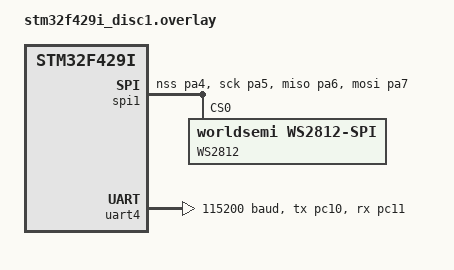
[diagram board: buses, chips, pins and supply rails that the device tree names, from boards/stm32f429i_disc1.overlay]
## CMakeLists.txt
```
# SPDX-License-Identifier: Apache-2.0

cmake_minimum_required(VERSION 3.20.0)
set(BOARD stm32f429i_disc1)

find_package(Zephyr REQUIRED HINTS $ENV{ZEPHYR_BASE})
project(app)

FILE(GLOB app_sources src/*.c)
target_sources(app PRIVATE ${app_sources})
```

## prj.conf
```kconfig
CONFIG_POLL=y
CONFIG_LOG=y
CONFIG_LOG_BACKEND_UART=y
CONFIG_SHELL=y
CONFIG_DEVICE_SHELL=y
CONFIG_SPI=y
CONFIG_SPI_STM32=y
CONFIG_SPI_STM32_DMA=y
CONFIG_LED_STRIP=y
CONFIG_LED_STRIP_LOG_LEVEL_DBG=y
CONFIG_WS2812_STRIP=y
CONFIG_NEWLIB_LIBC=y
CONFIG_CMSIS_DSP=y
CONFIG_CMSIS_DSP_COMPLEXMATH=y
CONFIG_CMSIS_DSP_TRANSFORM=y
CONFIG_TEST_RANDOM_GENERATOR=y
CONFIG_TIMER_RANDOM_GENERATOR=y
CONFIG_CBPRINTF_FP_SUPPORT=y

CONFIG_TIMING_FUNCTIONS=n
```

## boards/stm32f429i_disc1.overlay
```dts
/*
 * Copyright (c) 2019, Nordic Semiconductor ASA
 *
 * SPDX-License-Identifier: Apache-2.0
 */

#include <dt-bindings/led/led.h>

#include "../stm32f429i-bindings.h"

&spi1 { /* MOSI on PA7 */
	led_strip: ws2812@0 {
		compatible = "worldsemi,ws2812-spi";
		label = "WS2812";

		/* SPI */
		reg = <0>; /* ignored, but necessary for SPI bindings */
		spi-max-frequency = <SPI_FREQ>;

		/* WS2812 */
		chain-length = <123>; /* arbitrary; change at will */
		color-mapping = <LED_COLOR_ID_GREEN
				 LED_COLOR_ID_RED
				 LED_COLOR_ID_BLUE>;
		spi-one-frame = <ONE_FRAME>;
		spi-zero-frame = <ZERO_FRAME>;
	};

   dmas = <&dma2 5 3 0x28440 0x03>,
          <&dma2 2 3 0x28480 0x03>;
   dma-names = "tx", "rx";

	pinctrl-0 = <&spi1_nss_pa4 &spi1_sck_pa5
		     &spi1_miso_pa6 &spi1_mosi_pa7>;
	pinctrl-names = "default";
	status = "okay";
};

&dma2 {
   status = "okay";
};

&uart4 {
	pinctrl-0 = <&uart4_tx_pc10 &uart4_rx_pc11>;
	pinctrl-names = "default";
	current-speed = <115200>;
	status = "okay";
};

/ {
	chosen {
		zephyr,shell-uart = &uart4;
		zephyr,console = &usart1;
	};

	aliases {
		led-strip = &led_strip;
		mic-dma = &dma2;
	};

};
```

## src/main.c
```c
#include <errno.h>
#include <string.h>

#define LOG_LEVEL 4
#include <logging/log.h>
LOG_MODULE_REGISTER(main);

#include <zephyr.h>
#include <version.h>
#include <zephyr/shell/shell.h>
#include "fl_audioin.h"
#include "fl_events.h"
#include "fl_strip.h"
#include "fl_dsp.h"
#include "fl_lights.h"
#include "fl_button.h"

#ifdef CONFIG_TIMING_FUNCTIONS
#include <timing/timing.h>
/* TODO(kleindan)
 *
 * Spare:       1,152,334 ns
 * Fft:        11,032,024 ns
 * Update:        608,110 ns
 * Pixel:             738 ns
 * Total       12,793,208 ns
 */

#endif

static int cmd_demo_board(const struct shell *sh, size_t argc, char **argv)
{
	ARG_UNUSED(argc);
	ARG_UNUSED(argv);

	shell_print(sh, CONFIG_BOARD);

	return 0;
}

static int cmd_version(const struct shell *shell, size_t argc, char **argv)
{
	ARG_UNUSED(argc);
	ARG_UNUSED(argv);

	shell_print(shell, "Zephyr version %s", KERNEL_VERSION_STRING);

	return 0;
}

SHELL_STATIC_SUBCMD_SET_CREATE(sub_demo,
	SHELL_CMD(board, NULL, "Show board name command.", cmd_demo_board),
	SHELL_SUBCMD_SET_END /* Array terminated. */
);
SHELL_CMD_REGISTER(demo, &sub_demo, "Demo commands", NULL);

SHELL_CMD_ARG_REGISTER(version, NULL, "Show kernel version", cmd_version, 1, 0);


#define NUM_SAMPLES (1024)
#define SAMPLE_INDEX_MASK  ((NUM_SAMPLES * 2) - 1)
#define NUM_OF_PIXELS (123)

internal int16_t SampleBuffer[2*NUM_SAMPLES];
internal f32 FftInput[NUM_SAMPLES];
internal f32 FftComplex[NUM_SAMPLES];
internal f32 FftOut[NUM_SAMPLES/2];
internal pixel *Pixels;

#ifdef CONFIG_TIMING_FUNCTIONS
internal uint64_t TotalCycles = 0, TotalNs = 0;
internal uint64_t SamplesCycles = 0, SamplesNs = 0;
internal uint64_t FftCycles = 0, FftNs = 0;
internal uint64_t UpdateCycles = 0, UpdateNs = 0;
internal uint64_t PixelPushCycles = 0, PixelPushNs = 0;
internal timing_t TStart, TSamplesReady, TFftDone, TUpdateDone, TPixelPushed;
internal u32 TimingCount = 0;
#endif

typedef enum {
   MODE_NORMAL,
   MODE_INSPECTION,
   MODE_BROWNOUT,
   MODE_MAX
} fl_system_mode;


internal void           ModeNormalOnEnter();
internal fl_system_mode ModeNormalOnEvent(fl_event Event);
internal void           ModeNormalOnLeave();

internal void           ModeInspectionOnEnter();
internal fl_system_mode ModeInspectionOnEvent(fl_event Event);
internal void           ModeInspectionOnLeave();

internal void           ModeBrownOutOnEnter();
internal fl_system_mode ModeBrownOutOnEvent(fl_event Event);
internal void           ModeBrownOutOnLeave();

typedef fl_system_mode (*mode_event_handler_t)(fl_event);
typedef void (*mode_enter_handler_t)();
typedef void (*mode_leave_handler_t)();

typedef struct {
   mode_enter_handler_t OnEnter;
   mode_event_handler_t OnEvent;
   mode_leave_handler_t OnLeave;
} mode_functions;

internal u32 ModeTimeouts[MODE_MAX] = {
   60,
   0,
   2000
};

internal mode_functions ModeHandlers[MODE_MAX] = {
   {
      .OnEnter = ModeNormalOnEnter,
      .OnEvent = ModeNormalOnEvent,
      .OnLeave = ModeNormalOnLeave,
   },
   {
      .OnEnter = ModeInspectionOnEnter,
      .OnEvent = ModeInspectionOnEvent,
      .OnLeave = ModeInspectionOnLeave,
   },
   {
      .OnEnter = ModeBrownOutOnEnter,
      .OnEvent = ModeBrownOutOnEvent,
      .OnLeave = ModeBrownOutOnLeave,
   },
};

internal void ModeInspectionOnEnter()
{
   static const pixel RED = {
      .Color = {
         .r = 0xff,
      },
   };

   for (int I = 0; I < NUM_OF_PIXELS; ++I)
   {
      Pixels[I].Dword = RED.Dword;
   }

   StripOutput(Pixels, NUM_OF_PIXELS);
   Pixels = StripSwapBuffer(Pixels);
}

internal fl_system_mode ModeInspectionOnEvent(fl_event Event)
{
   fl_system_mode NextMode = MODE_INSPECTION;

   static const pixel GREEN_BLUE[2] = {
      {
         .Color = {
            .g = 0xff,
         },
      },
      {
         .Color = {
            .b = 0xff,
         },
      },
   };
   static u32 CurrentColor = 0;

   switch (Event)
   {
      case EV_PERIODIC_FRAME:
         break;
      case EV_AUDIO_SAMPLES_AVAILABLE:
         break;
      case EV_BUTTON_PRESSED:
         break;
      case EV_BUTTON_RELEASED:
         if (CurrentColor >= 2)
         {
            NextMode = MODE_BROWNOUT;
            CurrentColor = 0;
         }
         else
         {
            for (int I = 0; I < NUM_OF_PIXELS; ++I)
            {
               Pixels[I].Dword = GREEN_BLUE[CurrentColor].Dword;
            }
            CurrentColor++;

            StripOutput(Pixels, NUM_OF_PIXELS);
            Pixels = StripSwapBuffer(Pixels);
         }
         break;
      default:
         break;
   }

   return NextMode;
}

internal void ModeInspectionOnLeave()
{
   /* Nothing to do really? */
}

internal void ModeBrownOutOnEnter()
{
   static const pixel ALL = {
      .Color = {
         .r = 0xff,
         .g = 0xff,
         .b = 0xff,
      },
   };

   for (int I = 0; I < NUM_OF_PIXELS; ++I)
   {
      Pixels[I].Dword = ALL.Dword;
   }
   Pixels = StripSwapBuffer(Pixels);
   for (int I = 0; I < NUM_OF_PIXELS; ++I)
   {
      if ((I % 2) == 0)
      {
         Pixels[I].Dword = ALL.Dword;
      }
      else
      {
         Pixels[I].Dword = 0;
      }
   }

   Pixels = StripSwapBuffer(Pixels);
   StripOutput(Pixels, NUM_OF_PIXELS);
   Pixels = StripSwapBuffer(Pixels);

   EventsStartPeriodicEvent(1000);
}

internal fl_system_mode ModeBrownOutOnEvent(fl_event Event)
{
   fl_system_mode NextMode = MODE_BROWNOUT;

   switch (Event)
   {
      case EV_PERIODIC_FRAME:
         StripOutput(Pixels, NUM_OF_PIXELS);
         Pixels = StripSwapBuffer(Pixels);
         break;
      case EV_AUDIO_SAMPLES_AVAILABLE:
         break;
      case EV_BUTTON_PRESSED:
         break;
      case EV_BUTTON_RELEASED:
         NextMode = MODE_NORMAL;
         break;
      default:
         break;
   }

   return NextMode;
}

internal void ModeBrownOutOnLeave()
{
   EventsStopPeriodicEvent();
}

internal void ModeNormalOnEnter()
{
#ifdef CONFIG_TIMING_FUNCTIONS
   timing_init();
   timing_start();
   TStart = timing_counter_get();
#endif
   for (int I = 0; I < NUM_OF_PIXELS; ++I)
   {
      Pixels[I].Dword = 0;
   }
   StripOutput(Pixels, NUM_OF_PIXELS);
   Pixels = StripSwapBuffer(Pixels);
   AudioInStart();

}
internal void ModeNormalOnLeave()
{
   AudioInStop();
#ifdef CONFIG_TIMING_FUNCTIONS
   timing_stop();
#endif
}

internal inline fl_system_mode ModeNormalOnEvent(fl_event Event)
{
   static u32 AudioSampleIndex = 0;
   fl_system_mode NextMode = MODE_NORMAL;

   switch (Event)
   {
      case EV_PERIODIC_FRAME:
         break;
      case EV_AUDIO_SAMPLES_AVAILABLE:
#ifdef CONFIG_TIMING_FUNCTIONS
         TSamplesReady = timing_counter_get();
#endif
         DspNormalizeSamples(&SampleBuffer[AudioSampleIndex], NUM_SAMPLES, FftInput);
         DspCalculateSpectrum(FftInput, NUM_SAMPLES, FftComplex, FftOut);
         AudioSampleIndex = (AudioSampleIndex + NUM_SAMPLES) & SAMPLE_INDEX_MASK;
#ifdef CONFIG_TIMING_FUNCTIONS
         TFftDone = timing_counter_get();
#endif

         LightsUpdateAndRender(Pixels, NUM_OF_PIXELS, FftOut, NUM_SAMPLES);
#ifdef CONFIG_TIMING_FUNCTIONS
         TUpdateDone = timing_counter_get();
#endif

         StripOutput(Pixels, NUM_OF_PIXELS);
         Pixels = StripSwapBuffer(Pixels);
#ifdef CONFIG_TIMING_FUNCTIONS
         TPixelPushed = timing_counter_get();
         timing_stop();
#endif
#ifdef CONFIG_TIMING_FUNCTIONS
         SamplesCycles     = timing_cycles_get(&TStart, &TSamplesReady);
         FftCycles         = timing_cycles_get(&TSamplesReady, &TFftDone);
         UpdateCycles      = timing_cycles_get(&TFftDone, &TUpdateDone);
         PixelPushCycles   = timing_cycles_get(&TUpdateDone, &TPixelPushed);
         TotalCycles       = timing_cycles_get(&TStart, &TPixelPushed);

         SamplesNs        += timing_cycles_to_ns(SamplesCycles);
         FftNs            += timing_cycles_to_ns(FftCycles);
         UpdateNs         += timing_cycles_to_ns(UpdateCycles);
         PixelPushNs      += timing_cycles_to_ns(PixelPushCycles);
         TotalNs          += timing_cycles_to_ns(TotalCycles);

         TimingCount = (TimingCount + 1) & 0xFF;
         if (0 == TimingCount)
         {
            SamplesNs    >>= 8;
            FftNs        >>= 8;
            UpdateNs     >>= 8;
            PixelPushNs  >>= 8;
            TotalNs      >>= 8;

            LOG_INF("Samples: %lldns, Fft: %lldns, Update: %lldns, Pixel: %lldns, Total %lldns", SamplesNs, FftNs, UpdateNs, PixelPushNs, TotalNs);

            SamplesNs    = 0;
            FftNs        = 0;
            UpdateNs     = 0;
            PixelPushNs  = 0;
            TotalNs      = 8;
         }

         timing_start();
         TStart = timing_counter_get();
#endif
         break;
      case EV_BUTTON_PRESSED:
         break;
      case EV_BUTTON_RELEASED:
         NextMode = MODE_INSPECTION;
         break;
      default:
         break;
   }

   return NextMode;
}

void main(void)
{
   Pixels = StripGetBuffer();

   EventsInit();
   StripInit();
   LightsInit();
   ButtonInit();
   AudioInInit(SampleBuffer, sizeof(SampleBuffer));

   StripOutput(Pixels, NUM_OF_PIXELS);
   Pixels = StripSwapBuffer(Pixels);

   fl_system_mode CurrentMode = MODE_NORMAL;
   ModeHandlers[CurrentMode].OnEnter();

	while (1) {
      fl_event Event = WaitForEvent(ModeTimeouts[CurrentMode]);

      fl_system_mode NextMode = ModeHandlers[CurrentMode].OnEvent(Event);

      if (NextMode != CurrentMode)
      {
         ModeHandlers[CurrentMode].OnLeave();
         CurrentMode = NextMode;
         ModeHandlers[CurrentMode].OnEnter();
      }
	}
}
```

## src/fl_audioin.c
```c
#include "fl_common.h"
#include "fl_audioin.h"

#include "zephyr.h"
#include <drivers/adc.h>
#include <drivers/dma.h>
#include <drivers/dma/dma_stm32.h>
#include <device.h>

#include "stm32f4xx_ll_adc.h"
#include "stm32f4xx_ll_bus.h"
#include "stm32f4xx_ll_dma.h"
#include "stm32f4xx_ll_gpio.h"
#include "stm32f4xx_ll_rcc.h"
#include "stm32f4xx_ll_tim.h"

#define LOG_LEVEL 4
#include <logging/log.h>
LOG_MODULE_REGISTER(audioin);

internal void AdcDmaConfig(u16* Data, u32 size);
internal inline void ActivateAdc(ADC_TypeDef* Adc);
internal inline void EnableAdcChannel(ADC_TypeDef* Adc, u32 Channel, u32 Rank);
internal inline void StartAdc(ADC_TypeDef* Adc);
internal inline void StopAdc(ADC_TypeDef* Adc);
internal void AdcConfig(ADC_TypeDef* Adc, uint32_t TimerTriggerId, uint32_t AdcPeriphId);
internal void Adc3Init(u16* Data, u32 BufferSize);

#define DMA_NODE		DT_ALIAS(mic_dma)
internal const struct device *DmaDevice = DEVICE_DT_GET(DMA_NODE);

internal void TIM2IrqHandler()
{
   if (LL_TIM_IsActiveFlag_UPDATE(TIM2) == 1)
   {
      // Clear the update interrupt flag
      LL_TIM_ClearFlag_UPDATE(TIM2);
   }
}

internal void ADCIrqHandler()
{
   if (LL_ADC_IsActiveFlag_OVR(ADC1) != 0)
   {
      LL_ADC_ClearFlag_OVR(ADC1);
      LOG_ERR("ADC1 overdflow");
   }

   if (LL_ADC_IsActiveFlag_OVR(ADC2) != 0)
   {
      LL_ADC_ClearFlag_OVR(ADC2);
      LOG_ERR("ADC2 overdflow");
   }

   if (LL_ADC_IsActiveFlag_OVR(ADC3) != 0)
   {
      LL_ADC_ClearFlag_OVR(ADC3);
      LOG_ERR("ADC3 overdflow");
   }
}

u32 AudioInInit(u16* Buffer, u32 BufferSize)
{
   // Timer config 
   u32 Tim2ClockFrequency = 200000;
   u32 SamplingFrequency = 40000;
   u32 TimerClock = CONFIG_SYS_CLOCK_HW_CYCLES_PER_SEC / 4;
   u32 Result = 0;

   LL_APB1_GRP1_EnableClock(LL_APB1_GRP1_PERIPH_TIM2);
   LL_TIM_SetPrescaler(TIM2, __LL_TIM_CALC_PSC(TimerClock, Tim2ClockFrequency));
   LL_TIM_SetAutoReload(TIM2, __LL_TIM_CALC_ARR(TimerClock, LL_TIM_GetPrescaler(TIM2), SamplingFrequency));

   IRQ_CONNECT(TIM2_IRQn, 0, TIM2IrqHandler, NULL, 0);
   irq_enable(TIM2_IRQn);

   Adc3Init(Buffer, BufferSize);

   LL_AHB1_GRP1_EnableClock(LL_AHB1_GRP1_PERIPH_GPIOF);
   LL_GPIO_SetPinMode(GPIOF, LL_GPIO_PIN_10, LL_GPIO_MODE_ANALOG);

   EnableAdcChannel(ADC3, LL_ADC_CHANNEL_8, LL_ADC_REG_RANK_1);


   return Result;
}

u32 AudioInStart()
{
   int ReturnCode = dma_start(DmaDevice, 1);
   if (ReturnCode != 0)
   {
      LOG_ERR("Dma start failed %d", ReturnCode);
   }

   StartAdc(ADC3);
   LL_TIM_EnableCounter(TIM2);
   LL_TIM_GenerateEvent_UPDATE(TIM2);

   return ReturnCode;
}

u32 AudioInStop()
{
   LL_TIM_DisableCounter(TIM2);
   StopAdc(ADC3);

   int ReturnCode = dma_stop(DmaDevice, 1);
   if (ReturnCode != 0)
   {
      LOG_ERR("Dma stop failed %d", ReturnCode);
   }

   return ReturnCode;
}

internal void DmaCallback(const struct device *Dev, void *UserData, uint32_t Channel, int Status)
{
   EventEmit(EV_AUDIO_SAMPLES_AVAILABLE);
}

internal void AdcDmaConfig(u16* Data, u32 BufferSize)
{
   int ReturnCode = 0;

   struct dma_block_config BlockConfig = {
      .source_address = LL_ADC_DMA_GetRegAddr(ADC3, LL_ADC_DMA_REG_REGULAR_DATA),
      .dest_address = (u32)Data,
      .source_gather_interval = 0,
      .dest_scatter_interval = 0,
      .dest_scatter_count = 0,
      .source_gather_count = 0,
      .block_size = BufferSize,
      .next_block = NULL,
      .source_gather_en = 0,
      .dest_scatter_en = 0,
      .source_addr_adj = DMA_ADDR_ADJ_NO_CHANGE,
      .dest_addr_adj = DMA_ADDR_ADJ_INCREMENT,
      .source_reload_en = 1,
      .dest_reload_en = 1,
      .fifo_mode_control = 0,
      .flow_control_mode = 0,
   };
   struct dma_config DevConfig = {
      .dma_slot = 2,
      .channel_direction = PERIPHERAL_TO_MEMORY,
      .complete_callback_en = 1,
      .error_callback_en = 1,
      .source_handshake = 0, /* HW, probably ignored param */
      .dest_handshake = 1, /* SW, probably ignored param */
      .channel_priority = 0x0, /* Low prio, tbd if this is ok */
      .source_chaining_en = 0, /* ignored? */
      .dest_chaining_en = 0, /* ignored? */
      .linked_channel = 0, /* ignored? */
      .source_data_size = 2,
      .dest_data_size = 2,
      .source_burst_length = 1,
      .dest_burst_length = 1,
      .block_count = 1,
      .user_data = NULL,
      .dma_callback = DmaCallback,
      .head_block = &BlockConfig,
   };

   ReturnCode = dma_config(DmaDevice, 1, &DevConfig);
   if (ReturnCode != 0)
   {
      LOG_ERR("Dma config failed %d", ReturnCode);
   }

}

#if 0
internal void AdcDmaConfig(u16* Data, u32 Size)
{
   // Configuration of NVIC
   // Configure NVIC to enable DMA interruptions
   IRQ_CONNECT(DMA2_Stream1_IRQn, 0, DMA2Stream1IrqHandler, NULL, 0);
   irq_enable(DMA2_Stream1_IRQn);
   /*
   NVIC_SetPriority(DMA2_Stream1_IRQn, 1);  // DMA IRQ lower priority than ADC IRQ
   NVIC_EnableIRQ(DMA2_Stream1_IRQn);
   */

   // Configuration of DMA
   // Enable the peripheral clock of DMA
   LL_AHB1_GRP1_EnableClock(LL_AHB1_GRP1_PERIPH_DMA2);

   LL_DMA_SetChannelSelection(DMA2, LL_DMA_STREAM_1, LL_DMA_CHANNEL_2);

   // Configure the DMA transfer
   //    - DMA transfer in circular mode to match with ADC configuration:
   //      DMA unlimited requests.
   //    - DMA transfer from ADC without address increment.
   //    - DMA transfer to memory with address increment.
   //    - DMA transfer from ADC by half-word to match with ADC configuration:
   //      ADC resolution 12 bits.
   //    - DMA transfer to memory by half-word to match with ADC conversion data
   //      buffer variable type: half-word.

   LL_DMA_ConfigTransfer(
         DMA2,
         LL_DMA_STREAM_1,
         LL_DMA_DIRECTION_PERIPH_TO_MEMORY |
         LL_DMA_MODE_CIRCULAR              |
         LL_DMA_PERIPH_NOINCREMENT         |
         LL_DMA_MEMORY_INCREMENT           |
         LL_DMA_PDATAALIGN_HALFWORD        |
         LL_DMA_MDATAALIGN_HALFWORD        |
         LL_DMA_PRIORITY_HIGH
         );

   // Set DMA transfer addresses of source and destination
   LL_DMA_ConfigAddresses(
         DMA2,
         LL_DMA_STREAM_1,
         LL_ADC_DMA_GetRegAddr(ADC3, LL_ADC_DMA_REG_REGULAR_DATA),
         (uint32_t)Data,
         LL_DMA_DIRECTION_PERIPH_TO_MEMORY
         );

   // Set DMA transfer size
   LL_DMA_SetDataLength(DMA2, LL_DMA_STREAM_1, Size);

   // Enable DMA transfer interruption: transfer complete
   LL_DMA_EnableIT_TC(DMA2, LL_DMA_STREAM_1);

   // Enable DMA transfer interruption: half transfer
   LL_DMA_EnableIT_HT(DMA2, LL_DMA_STREAM_1);

   // Enable DMA transfer interruption: transfer error
   LL_DMA_EnableIT_TE(DMA2, LL_DMA_STREAM_1);

   // Activation of DMA
   // Enable the DMA transfer
   LL_DMA_EnableStream(DMA2, LL_DMA_STREAM_1);
}
#endif

internal inline void ActivateAdc(ADC_TypeDef* Adc)
{
   // ADC must be disabled at this point
   if (LL_ADC_IsEnabled(Adc) != 0)
   {
      LOG_ERR("ADC should not be already eanbled");
   }

   // Enable ADC
   LL_ADC_Enable(Adc);
}

internal inline void EnableAdcChannel(ADC_TypeDef* Adc, u32 Channel, u32 Rank)
{
   // Set ADC group regular sequence: Channel on the selected sequence Rank.
   LL_ADC_REG_SetSequencerRanks(Adc, Rank, Channel);
   LL_ADC_SetChannelSamplingTime(Adc, Channel, LL_ADC_SAMPLINGTIME_144CYCLES);
}

internal inline void StartAdc(ADC_TypeDef* Adc)
{
   if (LL_ADC_IsEnabled(Adc))
   {
      LL_ADC_REG_StartConversionExtTrig(Adc, LL_ADC_REG_TRIG_EXT_RISING);
   }
}

internal inline void StopAdc(ADC_TypeDef* Adc)
{
   if (LL_ADC_IsEnabled(Adc))
   {
      LL_ADC_REG_StopConversionExtTrig(Adc);
   }
}

internal void AdcConfig(
      ADC_TypeDef* Adc,
      uint32_t TimerTriggerId,
      uint32_t AdcPeriphId
   )
{
   // Configuration of NVIC
   // Configure NVIC to enable ADC interruptions
   IRQ_CONNECT(ADC_IRQn, 0, ADCIrqHandler, NULL, 0);
   irq_enable(ADC_IRQn);

   // Enable ADC clock (core clock)
   LL_APB2_GRP1_EnableClock(AdcPeriphId);

   static bool AdcCommonInitialized = false;

   if (!AdcCommonInitialized)
   {
      // ADC common instance must not be enabled at this point
      if (__LL_ADC_IS_ENABLED_ALL_COMMON_INSTANCE() != 0)
      {
         LOG_ERR("ADC Common instance already initialized");
      }

      // Set ADC clock (conversion clock) common to several ADC instances
      LL_ADC_SetCommonClock(__LL_ADC_COMMON_INSTANCE(Adc), LL_ADC_CLOCK_SYNC_PCLK_DIV2);

      AdcCommonInitialized = true;
   }

   // ADC must not be enabled at this point
   if (LL_ADC_IsEnabled(Adc) != 0)
   {
      LOG_ERR("ADC should not be enabled yet");
   }

   // Set ADC data resolution
   LL_ADC_SetResolution(Adc, LL_ADC_RESOLUTION_12B);

   // Set ADC conversion data alignment
   LL_ADC_SetResolution(Adc, LL_ADC_DATA_ALIGN_RIGHT);

   // Set Set ADC sequencers scan mode, for all ADC groups
   // (group regular, group injected).
   LL_ADC_SetSequencersScanMode(Adc, LL_ADC_SEQ_SCAN_DISABLE);

   // Set ADC group regular trigger source
   LL_ADC_REG_SetTriggerSource(Adc, TimerTriggerId);

   // Set ADC group regular trigger polarity
   // LL_ADC_REG_SetTriggerEdge(Adc, LL_ADC_REG_TRIG_EXT_RISING);

   // Set ADC group regular continuous mode
   LL_ADC_REG_SetContinuousMode(Adc, LL_ADC_REG_CONV_SINGLE);

   // Set ADC group regular conversion data transfer
   LL_ADC_REG_SetDMATransfer(Adc, LL_ADC_REG_DMA_TRANSFER_UNLIMITED);

   // Set ADC group regular sequencer length and scan direction
   LL_ADC_REG_SetSequencerLength(Adc, LL_ADC_REG_SEQ_SCAN_DISABLE);

   // Set ADC group regular sequencer discontinuous mode
   // LL_ADC_REG_SetSequencerDiscont(Adc, LL_ADC_REG_SEQ_DISCONT_DISABLE);

   // Enable interruption ADC group regular overrun
   LL_ADC_EnableIT_OVR(Adc);
}

internal void Adc3Init(u16* Data, u32 BufferSize)
{
   AdcDmaConfig(Data, BufferSize);

   AdcConfig(ADC3, LL_ADC_REG_TRIG_EXT_TIM2_TRGO, LL_APB2_GRP1_PERIPH_ADC3);

   ActivateAdc(ADC3);

   // Set timer the trigger output (TRGO)
   LL_TIM_SetTriggerOutput(TIM2, LL_TIM_TRGO_UPDATE);
}
```

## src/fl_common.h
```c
#ifndef FL_COMMON_H__
#define FL_COMMON_H__

#include <arm_math.h>
#include <random/rand32.h>

typedef unsigned char      u8;
typedef unsigned short     u16;
typedef unsigned int       u32;
typedef          char      i8;
typedef          int       i32;
typedef          float32_t f32;

#define ArrayCount(Array) (sizeof(Array)/sizeof(Array[0]))

#define Maximum(A, B) ((A) < (B) ? (B) : (A))
#define Minimum(A, B) ((A) < (B) ? (A) : (B))

#define internal static

internal inline f32 Square(f32 A) {
   return A*A;
}

internal inline f32 Abs(f32 A) {
   return A >= 0 ? A : -A;
}

internal inline f32 Clamp(f32 Min, f32 A, f32 Max) {
   return Maximum(Minimum(A, Max), Min);
}

internal inline u32 ClampU(u32 Min, u32 A, u32 Max) {
   return Maximum(Minimum(A, Max), Min);
}

internal inline i32 Round(f32 A) {
   return (i32)(A + 0.5f);
}

internal inline f32 Lerp(f32 A, f32 t, f32 B) {
   return (1 - t) * A + t * B;
}

internal inline f32 Sine(f32 V) {
   return arm_sin_f32(V);
}

internal inline f32 Random()
{
   const f32 OneOverMaxU32 = 1.0f / (f32)(0xffffffff);
   f32 Value = (f32)sys_rand32_get();

   return Value * OneOverMaxU32;
}

#endif
```

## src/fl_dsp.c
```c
#include "fl_common.h"
#include "fl_dsp.h"
#include "arm_math.h"

#define LOG_LEVEL 4
#include <logging/log.h>
LOG_MODULE_REGISTER(dsp);


u32 DspCalculateSpectrum(f32 *Input, u32 NumSamples, f32 *IntermediateBuffer, f32 *Output)
{
   f32 FfftScalingFactor = 1.0f / (f32)NumSamples;
   arm_rfft_fast_instance_f32 fft;

   arm_rfft_fast_init_f32(&fft, NumSamples);
   arm_rfft_fast_f32(&fft, Input, IntermediateBuffer, 0);
   arm_cmplx_mag_f32(IntermediateBuffer, Output, NumSamples/2);

   static f32 MaxSpectrum = -32000.0f;
   static f32 MinSpectrum = 32000.0f;
   for (int i = 1; i < NumSamples/2; ++i)
   {
      Output[i] *= FfftScalingFactor;
      if (Output[i] > MaxSpectrum) MaxSpectrum = Output[i];
      if (Output[i] < MinSpectrum) MinSpectrum = Output[i];
   }
#if 0
   static u32 DebugCount = 0;
   if (DebugCount++ > 100)
   {
      LOG_INF("MinS: %d, MaxS: %d:", (i32)(MinSpectrum * 1000.0f), (i32)(MaxSpectrum * 1000.0f));
      DebugCount = 0;
   }
#endif
   

   /* TODO(kleindan) Check for error from CMSIS */
   return 0;
}

u32 DspNormalizeSamples(u16 *RawSamples, u32 NumSamples, f32 *Output)
{
   u16 MinSample = 0xffff;
   u16 MaxSample = 0x0000;
   u32 SamplesSum = 0;
   f32 MinSampleF = 0.0f;
   f32 MaxSampleF = 0.0f;
   f32 Mean = 0;

   for (int i = 0; i < NumSamples; ++i)
   {
      SamplesSum += RawSamples[i];
      if (RawSamples[i] < MinSample) MinSample = RawSamples[i];
      if (RawSamples[i] > MaxSample) MaxSample = RawSamples[i];
   }
   Mean = ((f32) SamplesSum) / ((f32) NumSamples);

#if 0
   static u32 DebugCount = 0;
   if (DebugCount++ > 100)
   {
      LOG_INF("Min: %d, Max: %d:, Mean %d", MinSample, MaxSample, (u32)(Mean * 1000.f));
      DebugCount = 0;
   }
#endif

   u16 RangeLo = (u16)Mean - MinSample;
   u16 RangeHi = MaxSample - (u16)Mean;
   u16 Range = Maximum(RangeLo, RangeHi);
   f32 NormalizationFactor = 1.0/Clamp(800.0f, (f32)Range, 2048);
   for (int i = 0; i < NumSamples; ++i)
   {
      Output[i] = NormalizationFactor * (((f32) RawSamples[i]) - Mean);
      if (Output[i] < MinSampleF) MinSampleF = Output[i];
      if (Output[i] > MaxSampleF) MaxSampleF = Output[i];
   }
#if 0
   static u32 DebugCount = 0;
   if (DebugCount++ > 100)
   {
      LOG_INF("Minf: %d, Maxf: %d:", (i32)(MinSampleF * 1000.0f), (i32)(MaxSampleF * 1000.0f));
      DebugCount = 0;
   }
#endif

   /* TODO(kleindan) Check for error from CMSIS */
   return 0;
}
```

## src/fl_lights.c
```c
#include "fl_common.h"
#include "fl_lights.h"

#define LOG_LEVEL 4
#include <logging/log.h>
LOG_MODULE_REGISTER(lights);

#define MIN_ORB_X (5.0f)
#define MAX_ORB_X (123.0f)
#define MIN_ORB_R (5.0f)
#define MAX_ORB_R (10.0f)
#define MIN_ORB_FREQ_IDX (3.0f)
#define MAX_ORB_FREQ_IDX (200.0f - MIN_ORB_FREQ_R)
#define MIN_ORB_FREQ_R (1.0f)
#define MAX_ORB_FREQ_R (5.0f - MIN_ORB_FREQ_R)

typedef struct {
   f32 R;
   f32 G;
   f32 B;
} fl_color;

typedef struct {
   fl_color Base;
   fl_color Accents[3];
} fl_palette;

typedef enum {
   none,
   spectrum_window,
} controller_algo_t;

typedef struct {
   f32 PFreq;
   f32 RFreq;
   f32 IntensityMultiplier;
} algo_spectrum_window_t;

typedef struct {
   controller_algo_t Algo;
   union {
      algo_spectrum_window_t SpectrumWindow;
   } Data;
} controller_t ;

typedef struct 
{
   f32 P;
   f32 dP;
   f32 R;
   f32 dR;
   f32 Intensity;
   fl_color Color;
   controller_t Controller;
} fl_orb;

typedef struct
{
   fl_color Color;
   f32 Intensity;
   f32 IntensityMultiplier;
   f32 PFreq;
   f32 RFreq;
} fl_ambient;


#define MAX_ORBS (4)

internal fl_orb Orbs[MAX_ORBS];

internal fl_ambient Ambient;

internal fl_palette Palette[4];

internal void log_orb(fl_orb *Orb)
{
   LOG_INF("P %4f, R %f, RGB: %4f, %4f, %4f, PF %4f, RF, %4f, I %4f",
         Orb->P,
         Orb->R,
         Orb->Color.R,
         Orb->Color.G,
         Orb->Color.B,
         Orb->Controller.Data.SpectrumWindow.PFreq,
         Orb->Controller.Data.SpectrumWindow.RFreq,
         Orb->Controller.Data.SpectrumWindow.IntensityMultiplier
         );
}
internal inline void create_orb(fl_orb *Orb)
{
   Orb->P = MIN_ORB_X + MAX_ORB_X * Random();
   Orb->dP = 0.0f;
   Orb->R = MIN_ORB_R + MAX_ORB_R * Random();
   Orb->dR = 0.0f;
   Orb->Controller.Algo = spectrum_window;
   Orb->Controller.Data.SpectrumWindow.PFreq = MIN_ORB_FREQ_IDX + MAX_ORB_FREQ_IDX * Random();
   Orb->Controller.Data.SpectrumWindow.RFreq = MIN_ORB_FREQ_R + MAX_ORB_FREQ_R * Random();
   Orb->Controller.Data.SpectrumWindow.IntensityMultiplier = 100.0f + 140.0f * Random();
}

internal inline void RandomizeOrbs()
{
   for (i32 I = 0; I < MAX_ORBS; ++I)
   {
      create_orb(&Orbs[I]);
   }
}

internal void ApplyPalette(fl_palette *Palette)
{
   Ambient.Color.R = Palette->Base.R;
   Ambient.Color.G = Palette->Base.G;
   Ambient.Color.B = Palette->Base.B;

   for (i32 I = 0; I < MAX_ORBS; ++I)
   {
      Orbs[I].Color.R = Palette->Accents[I % 3].R;
      Orbs[I].Color.G = Palette->Accents[I % 3].G;
      Orbs[I].Color.B = Palette->Accents[I % 3].B;
   }
}

void MakePalette(fl_palette * Palette, u32 Base, u32 Accent1, u32 Accent2, u32 Accent3)
{
   const f32 OneOver255 = 1.0f / 255.0f;
   const f32 MixingR = 4.1f/5.8f;
   const f32 MixingG = 0.7f/5.8f;
   const f32 MixingB = 1.0f/5.8f;
   const f32 RFactor = MixingR * OneOver255;
   const f32 GFactor = MixingG * OneOver255;
   const f32 BFactor = MixingB * OneOver255;

   Palette->Base.R = (f32)((Base >> 16) & 0xFF) * RFactor;
   Palette->Base.G = (f32)((Base >>  8) & 0xFF) * GFactor;
   Palette->Base.B = (f32)((Base >>  0) & 0xFF) * BFactor;

   Palette->Accents[0].R = (f32)((Accent1 >> 16) & 0xFF) * RFactor;
   Palette->Accents[0].G = (f32)((Accent1 >>  8) & 0xFF) * GFactor;
   Palette->Accents[0].B = (f32)((Accent1 >>  0) & 0xFF) * BFactor;

   Palette->Accents[1].R = (f32)((Accent2 >> 16) & 0xFF) * RFactor;
   Palette->Accents[1].G = (f32)((Accent2 >>  8) & 0xFF) * GFactor;
   Palette->Accents[1].B = (f32)((Accent2 >>  0) & 0xFF) * BFactor;

   Palette->Accents[2].R = (f32)((Accent3 >> 16) & 0xFF) * RFactor;
   Palette->Accents[2].G = (f32)((Accent3 >>  8) & 0xFF) * GFactor;
   Palette->Accents[2].B = (f32)((Accent3 >>  0) & 0xFF) * BFactor;
}

u32 LightsInit()
{
   MakePalette(&Palette[0], 0xFABEC0, 0xF85C70, 0xF37970, 0xE43D40);
   MakePalette(&Palette[1], 0x32CD30, 0x2C5E1A, 0x1A4314, 0xB2D2A4);
   MakePalette(&Palette[2], 0x6AABD2, 0xB7CFDC, 0x385E72, 0xD9E4EC);
   MakePalette(&Palette[3], 0x5D59AF, 0x6AABD2, 0xBE81B6, 0xE390C8);
   ApplyPalette(&Palette[0]);

   RandomizeOrbs();

   Ambient.Intensity = 0.0f;
   Ambient.PFreq = 5.0f;
   Ambient.RFreq = 4.0f;
   Ambient.IntensityMultiplier = 90.0f;

   return 0;
}



void LightsUpdateAndRender(pixel *Pixels, u32 NumPixels, f32 *Spectrum, u32 NumSamples)
{
   static u32 ResetCount = 100;

   for (size_t i = 0; i < NumPixels; ++i)
   {
      Pixels[i].Dword = 0;
   }

   for (u32 IOrb = 0; IOrb < MAX_ORBS; ++IOrb)
   {
      fl_orb * Orb = &Orbs[IOrb];

      switch (Orb->Controller.Algo)
      {
         case spectrum_window:
            {
               algo_spectrum_window_t * Window = &Orb->Controller.Data.SpectrumWindow;
               f32 Intensity = 0.0f;
               i32 IFreq = (i32)ceil(Window->PFreq - Window->RFreq);
               i32 MaxIFreq = (i32)floor(Window->PFreq + Window->RFreq);
               IFreq = IFreq < 0 ? 0 : IFreq;
               MaxIFreq = MaxIFreq >= NumSamples ? NumSamples : MaxIFreq;

               for ( ; IFreq < MaxIFreq; IFreq++)
               {
                  if (Spectrum[IFreq] > 0.002f)
                  {
                     Intensity += Spectrum[IFreq];
                  }
               }
               Intensity /= 2.0f * Window->RFreq;
               Orb->Intensity = Clamp(Orb->Intensity * 0.7f, Intensity * Window->IntensityMultiplier, 255.0f);
            }
            break;
         case none:
         default:
            break;

      }
      f32 P = ceil(Orb->P - Orb->R);
      i32 MaxI = (i32)floor(Orb->P + Orb->R);
      i32 I = (i32)P;
      I = I < 0 ? 0 : I;
      MaxI = MaxI >= NumPixels ? NumPixels : MaxI;
      f32 OrbRadiusSq = Square(Orb->R);
      for ( ; I < MaxI; ++I, P += 1.0f)
      {
         f32 DistSq = Square(P - Orb->P);
         f32 Rate = 1.0f - (DistSq - OrbRadiusSq);
         f32 Intensity = Rate * Orb->Intensity;
         Pixels[I].Color.r = ClampU(0, Pixels[I].Color.r + (u32)(Orb->Color.R * Intensity), 250);
         Pixels[I].Color.g = ClampU(0, Pixels[I].Color.g + (u32)(Orb->Color.G * Intensity), 250);
         Pixels[I].Color.b = ClampU(0, Pixels[I].Color.b + (u32)(Orb->Color.B * Intensity), 250);

      }
   }
   
   {
      f32 Intensity = 0.0f;
      i32 IFreq = (i32)ceil(Ambient.PFreq - Ambient.RFreq);
      i32 MaxIFreq = (i32)floor(Ambient.PFreq + Ambient.RFreq);
      IFreq = IFreq < 0 ? 0 : IFreq;
      MaxIFreq = MaxIFreq >= NumSamples ? NumSamples : MaxIFreq;

      for ( ; IFreq < MaxIFreq; IFreq++)
      {
         if (Spectrum[IFreq] > 0.002f)
         {
            Intensity += Spectrum[IFreq];
         }
      }
      Intensity /= 2.0f * Ambient.RFreq;
      Ambient.Intensity = Clamp(Maximum(Ambient.Intensity * 0.9f, 20.0f), Intensity * Ambient.IntensityMultiplier, 255.0f);

      for (i32 I = 0; I < NumPixels; ++I)
      {
         u32 CurrentIntensity = Pixels[I].Color.r + Pixels[I].Color.g + Pixels[I].Color.b;
         if (CurrentIntensity < 50)
         {
            Pixels[I].Color.r = ClampU(0, Pixels[I].Color.r + (u32)(Ambient.Color.R * Ambient.Intensity), 250);
            Pixels[I].Color.g = ClampU(0, Pixels[I].Color.g + (u32)(Ambient.Color.G * Ambient.Intensity), 250);
            Pixels[I].Color.b = ClampU(0, Pixels[I].Color.b + (u32)(Ambient.Color.B * Ambient.Intensity), 250);
         }
      }
   }

   if (--ResetCount == 0)
   {
      static u32 PaletteIndex = 0;
      RandomizeOrbs();
      ApplyPalette(&Palette[++PaletteIndex & 0x3]);
      ResetCount = 50 + (sys_rand32_get() & 0x0FF);
   }

#if 0
   static u32 DebugCount = 0;
   if (DebugCount++ > 100)
   {
      LOG_INF("I1: %7d, I2: %7d, I3 %7d, I4 %7d", 
            (i32)(Orbs[0].Intensity * 1000.0f),
            (i32)(Orbs[1].Intensity * 1000.0f),
            (i32)(Orbs[2].Intensity * 1000.0f),
            (i32)(Orbs[3].Intensity * 1000.0f));
      DebugCount = 0;
   }
#endif

}
```

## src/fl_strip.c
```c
#include "fl_common.h"
#include "fl_strip.h"
#include "zephyr.h"
#include "device.h"

#define LOG_LEVEL 4
#include <logging/log.h>
LOG_MODULE_REGISTER(strip);

/* LED STRIP */
#define STRIP_NODE		DT_ALIAS(led_strip)
#define STRIP_NUM_PIXELS	DT_PROP(DT_ALIAS(led_strip), chain_length)
#define STRIP_STACKSIZE 1024
#define STRIP_PRIORITY 7
#define STRIP_START_DELAY_MS 5

internal const struct device *StripDevice = DEVICE_DT_GET(STRIP_NODE);

internal pixel PixelArena[STRIP_NUM_PIXELS * 2];

internal struct
{
   pixel *PixelsStart;
   u32 NumOfPixels;
   struct k_poll_signal PushSignal;
   struct k_poll_event PushEvent;
   
} PushJob;

internal void PushThread(void)
{
   int WaitResult;

   while (1)
   {
      WaitResult = k_poll(&PushJob.PushEvent, 1, K_FOREVER);
      switch (WaitResult) 
      {
         case 0:
            if (PushJob.PushEvent.state & K_POLL_STATE_SIGNALED)
            {
               PushJob.PushEvent.signal->signaled = 0;
               PushJob.PushEvent.state = K_POLL_STATE_NOT_READY;

               if (PushJob.NumOfPixels > STRIP_NUM_PIXELS)
               {
                  PushJob.NumOfPixels = STRIP_NUM_PIXELS;
               }
               int rc = led_strip_update_rgb(StripDevice, &PushJob.PixelsStart->Color, PushJob.NumOfPixels);

               if (rc) {
                  LOG_ERR("couldn't update strip: %d", rc);
               }
            }
            break;
         default:
            LOG_ERR("Unexpected wait value: %d", WaitResult);
            break;
      }
   }
}

K_THREAD_DEFINE(PushThreadId, STRIP_STACKSIZE, PushThread, NULL, NULL, NULL, STRIP_PRIORITY, 0, STRIP_START_DELAY_MS);

u32 StripInit()
{
   k_poll_event_init(&PushJob.PushEvent,
         K_POLL_TYPE_SIGNAL,
         K_POLL_MODE_NOTIFY_ONLY,
         &PushJob.PushSignal);

   /* TODO(kleindan) errors?! */
   k_poll_signal_init(&PushJob.PushSignal);

	if (device_is_ready(StripDevice)) {
		LOG_INF("Found LED strip device %s", StripDevice->name);
	} else {
		LOG_ERR("LED strip device %s is not ready", StripDevice->name);
      /* TODO(kleindan) define errors */
		return 234;
	}

   return 0;
}



u32 StripOutput(pixel *Pixels, u32 NumOfPixels)
{
   PushJob.PixelsStart = Pixels;
   PushJob.NumOfPixels = NumOfPixels;
   k_poll_signal_raise(&PushJob.PushSignal, 0);

   return 0;
}

pixel* StripGetBuffer()
{
   return PixelArena;
}

pixel* StripSwapBuffer(pixel *PixelBuffer)
{
   return (PixelBuffer == PixelArena) ? PixelArena + STRIP_NUM_PIXELS : PixelArena;
}
```
